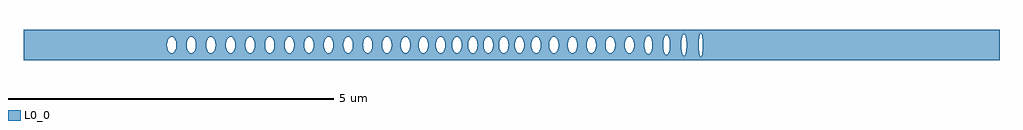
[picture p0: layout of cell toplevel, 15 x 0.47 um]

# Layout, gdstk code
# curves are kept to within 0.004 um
import gdstk
lib = gdstk.Library(unit=1e-6, precision=1e-09)
def P(c, l, *ps):  # polygons
    for p in ps: c.add(gdstk.Polygon(p, *l))
L0_0 = (0, 0)

toplevel = lib.new_cell('toplevel')
P(toplevel, L0_0, [(-4.638,-0.234),(-4.638,-0.123),(-4.655,-0.112),(-4.678,-0.075),(-4.692,-0.008),(-4.681,0.068),(-4.666,0.098),(-4.638,0.123),(-4.638,0.234),(-7.5,0.234),(-7.5,-0.008),(-5.295,-0.008),(-5.29,0.047),(-5.272,0.093),(-5.249,0.119),(-5.222,0.128),(-5.187,0.112),(-5.164,0.075),(-5.152,0.032),(-5.151,-0.016),(-4.993,-0.016),(-4.991,0.032),(-4.98,0.075),(-4.956,0.112),(-4.921,0.128),(-4.894,0.119),(-4.871,0.093),(-4.855,0.054),(-4.849,0.016),(-4.851,-0.032),(-4.862,-0.075),(-4.886,-0.112),(-4.921,-0.128),(-4.948,-0.119),(-4.971,-0.093),(-4.987,-0.054),(-4.993,-0.016),(-5.151,-0.016),(-5.161,-0.068),(-5.176,-0.098),(-5.196,-0.119),(-5.222,-0.128),(-5.249,-0.119),(-5.269,-0.098),(-5.286,-0.061),(-5.295,-0.008),(-7.5,-0.008),(-7.5,-0.234)],
  [(-4.629,0.126),(-4.597,0.121),(-4.573,0.098),(-4.552,0.047),(-4.547,-0.008),(-4.391,-0.008),(-4.386,0.047),(-4.368,0.093),(-4.345,0.119),(-4.318,0.128),(-4.305,0.125),(-4.279,0.108),(-4.257,0.068),(-4.248,0.032),(-4.246,-0.016),(-4.257,-0.068),(-4.272,-0.098),(-4.292,-0.119),(-4.318,-0.128),(-4.345,-0.119),(-4.368,-0.093),(-4.386,-0.047),(-4.391,-0.008),(-4.547,-0.008),(-4.556,-0.061),(-4.573,-0.098),(-4.606,-0.125),(-4.638,-0.123),(-4.638,-0.234),(-3.956,-0.234),(-3.956,-0.068),(-3.967,-0.093),(-3.99,-0.119),(-4.017,-0.128),(-4.03,-0.125),(-4.052,-0.112),(-4.07,-0.087),(-4.089,-0.016),(-4.087,0.032),(-4.076,0.075),(-4.044,0.119),(-4.017,0.128),(-3.99,0.119),(-3.967,0.093),(-3.956,0.068),(-3.956,0.234),(-4.638,0.234),(-4.638,0.123)],
  [(-3.947,-0.032),(-3.956,-0.068),(-3.956,-0.234),(-3.174,-0.234),(-3.174,-0.068),(-3.185,-0.016),(-3.183,0.032),(-3.174,0.068),(-3.174,0.234),(-3.956,0.234),(-3.956,0.068),(-3.945,-0.008),(-3.788,-0.008),(-3.783,0.047),(-3.765,0.093),(-3.742,0.119),(-3.716,0.128),(-3.689,0.119),(-3.666,0.093),(-3.648,0.047),(-3.643,0),(-3.487,0),(-3.478,0.061),(-3.453,0.108),(-3.441,0.119),(-3.414,0.128),(-3.388,0.119),(-3.368,0.098),(-3.353,0.068),(-3.344,0.032),(-3.342,-0.016),(-3.361,-0.087),(-3.379,-0.112),(-3.401,-0.125),(-3.414,-0.128),(-3.441,-0.119),(-3.464,-0.093),(-3.482,-0.047),(-3.487,0),(-3.643,0),(-3.648,-0.047),(-3.666,-0.093),(-3.689,-0.119),(-3.716,-0.128),(-3.742,-0.119),(-3.762,-0.098),(-3.777,-0.068),(-3.788,-0.008),(-3.945,-0.008)],
  [(-2.582,0.016),(-2.569,0.075),(-2.553,0.103),(-2.533,0.121),(-2.533,0.234),(-3.174,0.234),(-3.174,0.068),(-3.159,0.098),(-3.14,0.119),(-3.113,0.128),(-3.086,0.119),(-3.063,0.093),(-3.049,0.061),(-3.041,-0.008),(-2.884,-0.008),(-2.879,0.047),(-2.861,0.093),(-2.838,0.119),(-2.811,0.128),(-2.785,0.119),(-2.765,0.098),(-2.75,0.068),(-2.739,0.008),(-2.744,-0.047),(-2.762,-0.093),(-2.785,-0.119),(-2.811,-0.128),(-2.838,-0.119),(-2.858,-0.098),(-2.873,-0.068),(-2.884,-0.008),(-3.041,-0.008),(-3.047,-0.054),(-3.063,-0.093),(-3.086,-0.119),(-3.108,-0.127),(-3.126,-0.125),(-3.148,-0.112),(-3.174,-0.068),(-3.174,-0.234),(-2.533,-0.234),(-2.533,-0.121),(-2.553,-0.103),(-2.569,-0.075),(-2.579,-0.039)],
  [(-2.524,0.125),(-2.51,0.128),(-2.483,0.119),(-2.464,0.098),(-2.443,0.047),(-2.438,0),(-2.283,0),(-2.276,0.054),(-2.26,0.093),(-2.237,0.119),(-2.21,0.128),(-2.197,0.125),(-2.171,0.108),(-2.154,0.081),(-2.141,0.039),(-2.138,-0.016),(-2.149,-0.068),(-2.164,-0.098),(-2.184,-0.119),(-2.21,-0.128),(-2.237,-0.119),(-2.26,-0.093),(-2.276,-0.054),(-2.283,0),(-2.438,0),(-2.449,-0.068),(-2.471,-0.108),(-2.483,-0.119),(-2.51,-0.128),(-2.533,-0.121),(-2.533,-0.234),(-1.906,-0.234),(-1.906,-0.126),(-1.942,-0.119),(-1.965,-0.093),(-1.983,-0.047),(-1.988,0),(-1.983,0.047),(-1.965,0.093),(-1.942,0.119),(-1.906,0.126),(-1.906,0.234),(-2.533,0.234),(-2.533,0.121)],
  [(-1.424,0.032),(-1.41,0.081),(-1.393,0.108),(-1.354,0.128),(-1.327,0.119),(-1.311,0.103),(-1.295,0.075),(-1.285,0.039),(-1.285,0.234),(-1.906,0.234),(-1.906,0.126),(-1.88,0.112),(-1.859,0.081),(-1.846,0.039),(-1.843,-0.016),(-1.701,-0.016),(-1.699,0.032),(-1.688,0.075),(-1.664,0.112),(-1.629,0.128),(-1.602,0.119),(-1.579,0.093),(-1.563,0.054),(-1.557,0.016),(-1.559,-0.032),(-1.57,-0.075),(-1.594,-0.112),(-1.629,-0.128),(-1.656,-0.119),(-1.679,-0.093),(-1.695,-0.054),(-1.701,-0.016),(-1.843,-0.016),(-1.862,-0.087),(-1.88,-0.112),(-1.906,-0.126),(-1.906,-0.234),(-1.285,-0.234),(-1.285,-0.042),(-1.304,-0.093),(-1.327,-0.119),(-1.354,-0.128),(-1.38,-0.119),(-1.4,-0.098),(-1.415,-0.068),(-1.426,-0.016)],
  [(-1.284,-0.032),(-1.285,-0.234),(-0.625,-0.234),(-0.625,-0.115),(-0.656,-0.068),(-0.667,-0.008),(-0.656,0.068),(-0.625,0.115),(-0.625,0.234),(-1.285,0.234),(-1.282,-0.008),(-1.163,-0.008),(-1.158,0.047),(-1.14,0.093),(-1.117,0.119),(-1.09,0.128),(-1.056,0.112),(-1.032,0.075),(-1.02,0.032),(-1.019,-0.016),(-0.91,-0.016),(-0.904,0.054),(-0.881,0.103),(-0.852,0.125),(-0.838,0.128),(-0.811,0.119),(-0.779,0.075),(-0.769,0.039),(-0.766,-0.016),(-0.788,-0.093),(-0.803,-0.112),(-0.824,-0.125),(-0.852,-0.125),(-0.881,-0.103),(-0.897,-0.075),(-0.91,-0.016),(-1.019,-0.016),(-1.029,-0.068),(-1.044,-0.098),(-1.064,-0.119),(-1.09,-0.128),(-1.117,-0.119),(-1.137,-0.098),(-1.152,-0.068),(-1.163,-0.008),(-1.282,-0.008)],
  [(-0.19,0.016),(-0.18,0.068),(-0.153,0.112),(-0.119,0.128),(-0.088,0.115),(-0.088,0.234),(-0.625,0.234),(-0.625,0.115),(-0.594,0.128),(-0.568,0.119),(-0.548,0.098),(-0.527,0.047),(-0.523,-0.016),(-0.428,-0.016),(-0.425,0.039),(-0.412,0.081),(-0.391,0.112),(-0.356,0.128),(-0.329,0.119),(-0.306,0.093),(-0.29,0.054),(-0.283,0),(-0.29,-0.054),(-0.306,-0.093),(-0.329,-0.119),(-0.356,-0.128),(-0.382,-0.119),(-0.402,-0.098),(-0.417,-0.068),(-0.428,-0.016),(-0.523,-0.016),(-0.533,-0.068),(-0.56,-0.112),(-0.594,-0.128),(-0.625,-0.115),(-0.625,-0.234),(-0.088,-0.234),(-0.088,-0.115),(-0.119,-0.128),(-0.145,-0.119),(-0.165,-0.098),(-0.186,-0.047)],
  [(-0.088,0.234),(-0.088,0.115),(-0.057,0.068),(-0.046,0),(0.05,0),(0.055,0.047),(0.073,0.093),(0.096,0.119),(0.123,0.128),(0.149,0.119),(0.169,0.098),(0.184,0.068),(0.195,0.016),(0.192,-0.039),(0.179,-0.081),(0.158,-0.112),(0.123,-0.128),(0.096,-0.119),(0.073,-0.093),(0.055,-0.047),(0.05,0),(-0.046,0),(-0.057,-0.068),(-0.088,-0.115),(-0.088,-0.234),(0.449,-0.234),(0.449,-0.026),(0.439,-0.068),(0.424,-0.098),(0.404,-0.119),(0.378,-0.128),(0.351,-0.119),(0.331,-0.098),(0.316,-0.068),(0.305,-0.008),(0.307,0.032),(0.319,0.075),(0.339,0.108),(0.364,0.125),(0.391,0.125),(0.416,0.108),(0.439,0.068),(0.449,0.024),(0.449,0.234)],
  [(0.449,-0.016),(0.449,-0.234),(1.179,-0.234),(1.179,-0.093),(1.167,-0.068),(1.156,-0.016),(1.159,0.039),(1.179,0.093),(1.179,0.234),(0.449,0.234),(0.45,0),(0.578,0),(0.585,0.054),(0.601,0.093),(0.624,0.119),(0.651,0.128),(0.677,0.119),(0.704,0.087),(0.72,0.039),(0.723,-0.008),(0.865,-0.008),(0.87,0.047),(0.891,0.098),(0.924,0.125),(0.937,0.128),(0.964,0.119),(0.984,0.098),(0.999,0.068),(1.01,-0.008),(1.005,-0.047),(0.987,-0.093),(0.972,-0.112),(0.951,-0.125),(0.919,-0.123),(0.891,-0.098),(0.876,-0.068),(0.865,-0.008),(0.723,-0.008),(0.72,-0.039),(0.704,-0.087),(0.677,-0.119),(0.651,-0.128),(0.624,-0.119),(0.601,-0.093),(0.585,-0.054),(0.578,0),(0.45,0)],
  [(1.741,0.016),(1.747,0.054),(1.763,0.093),(1.786,0.119),(1.813,0.128),(1.813,0.234),(1.179,0.234),(1.179,0.093),(1.193,0.112),(1.219,0.126),(1.242,0.125),(1.263,0.112),(1.292,0.061),(1.3,-0.016),(1.447,-0.016),(1.449,0.032),(1.46,0.075),(1.484,0.112),(1.519,0.128),(1.546,0.119),(1.569,0.093),(1.583,0.061),(1.591,0.016),(1.589,-0.032),(1.578,-0.075),(1.554,-0.112),(1.519,-0.128),(1.492,-0.119),(1.473,-0.098),(1.46,-0.075),(1.447,-0.016),(1.3,-0.016),(1.287,-0.075),(1.255,-0.119),(1.228,-0.128),(1.215,-0.125),(1.193,-0.112),(1.179,-0.093),(1.179,-0.234),(1.813,-0.234),(1.813,-0.128),(1.786,-0.119),(1.763,-0.093),(1.747,-0.054)],
  [(1.882,-0.039),(1.869,-0.081),(1.852,-0.108),(1.813,-0.128),(1.813,-0.234),(2.416,-0.234),(2.416,-0.119),(2.39,-0.153),(2.377,-0.153),(2.364,-0.143),(2.343,-0.098),(2.331,-0.019),(2.337,0.074),(2.358,0.135),(2.373,0.151),(2.39,0.153),(2.416,0.118),(2.416,0.234),(1.813,0.234),(1.813,0.128),(1.848,0.112),(1.869,0.081),(1.882,0.039),(1.884,-0.018),(2.042,-0.018),(2.046,0.052),(2.056,0.09),(2.074,0.123),(2.096,0.14),(2.112,0.14),(2.131,0.127),(2.147,0.103),(2.159,0.068),(2.166,0.018),(2.159,-0.068),(2.141,-0.114),(2.112,-0.14),(2.085,-0.134),(2.067,-0.114),(2.05,-0.068),(2.042,-0.018),(1.884,-0.018)],
  [(7.5,-0.234),(7.5,0.234),(2.416,0.234),(2.416,0.118),(2.433,0.048),(2.435,-0.01),(2.608,-0.01),(2.609,0.042),(2.621,0.122),(2.632,0.151),(2.647,0.167),(2.663,0.159),(2.679,0.122),(2.692,0),(2.877,0),(2.887,0.131),(2.897,0.167),(2.907,0.18),(2.919,0.171),(2.928,0.146),(2.941,0.011),(2.935,-0.106),(2.923,-0.163),(2.911,-0.18),(2.897,-0.167),(2.887,-0.131),(2.877,0),(2.692,0),(2.681,-0.114),(2.668,-0.151),(2.653,-0.167),(2.637,-0.159),(2.623,-0.129),(2.608,-0.01),(2.435,-0.01),(2.429,-0.074),(2.416,-0.118),(2.416,-0.234)])

lib.write_gds('toplevel.gds')
